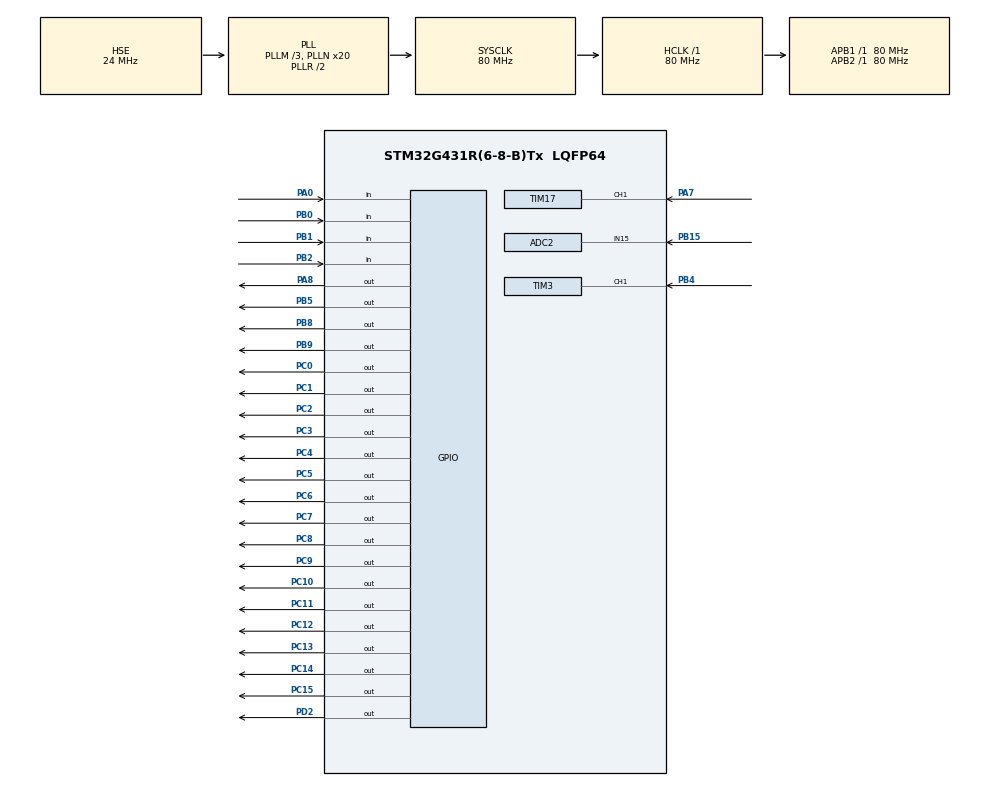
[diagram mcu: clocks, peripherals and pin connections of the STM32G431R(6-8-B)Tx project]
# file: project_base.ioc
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ADC2.Channel-0\#ChannelRegularConversion=ADC_CHANNEL_15
ADC2.NbrOfConversionFlag=1
ADC2.OffsetNumber-0\#ChannelRegularConversion=ADC_OFFSET_NONE
ADC2.Rank-0\#ChannelRegularConversion=1
ADC2.SamplingTime-0\#ChannelRegularConversion=ADC_SAMPLETIME_2CYCLES_5
Mcu.Family=STM32G4
Mcu.Name=STM32G431R(6-8-B)Tx
Mcu.Package=LQFP64
NVIC.PriorityGroup=NVIC_PRIORITYGROUP_4
NVIC.TIM1_TRG_COM_TIM17_IRQn=true\:0\:0\:false\:false\:true\:true\:true\:true
NVIC.TIM3_IRQn=true\:0\:0\:false\:false\:true\:true\:true\:true
PA0.GPIO_PuPd=GPIO_PULLUP
PA0.Signal=GPIO_Input
PA13.Mode=Serial_Wire
PA13.Signal=SYS_JTMS-SWDIO
PA14.Mode=Serial_Wire
PA14.Signal=SYS_JTCK-SWCLK
PA7.Signal=S_TIM17_CH1
PA8.Signal=GPIO_Output
PB0.GPIO_PuPd=GPIO_PULLUP
PB0.Signal=GPIO_Input
PB1.GPIO_PuPd=GPIO_PULLUP
PB1.Signal=GPIO_Input
PB15.Mode=IN15-Single-Ended
PB15.Signal=ADC2_IN15
PB2.GPIO_PuPd=GPIO_PULLUP
PB2.Signal=GPIO_Input
PB4.Signal=S_TIM3_CH1
PB5.Signal=GPIO_Output
PB8-BOOT0.Signal=GPIO_Output
PB9.Signal=GPIO_Output
PC0.Signal=GPIO_Output
PC1.Signal=GPIO_Output
PC10.Signal=GPIO_Output
PC11.Signal=GPIO_Output
PC12.Signal=GPIO_Output
PC13.Signal=GPIO_Output
PC14-OSC32_IN.Signal=GPIO_Output
PC15-OSC32_OUT.Signal=GPIO_Output
PC2.Signal=GPIO_Output
PC3.Signal=GPIO_Output
PC4.Signal=GPIO_Output
PC5.Signal=GPIO_Output
PC6.Signal=GPIO_Output
PC7.Signal=GPIO_Output
PC8.Signal=GPIO_Output
PC9.Signal=GPIO_Output
PD2.Signal=GPIO_Output
PF0-OSC_IN.Mode=HSE-External-Oscillator
PF0-OSC_IN.Signal=RCC_OSC_IN
PF1-OSC_OUT.Mode=HSE-External-Oscillator
PF1-OSC_OUT.Signal=RCC_OSC_OUT
ProjectManager.HeapSize=0x200
ProjectManager.StackSize=0x400
ProjectManager.TargetToolchain=MDK-ARM V5.32
RCC.ADC12Freq_Value=80000000
RCC.AHBFreq_Value=80000000
RCC.APB1Freq_Value=80000000
RCC.APB1TimFreq_Value=80000000
RCC.APB2Freq_Value=80000000
RCC.APB2TimFreq_Value=80000000
RCC.CortexFreq_Value=80000000
RCC.EXTERNAL_CLOCK_VALUE=12288000
RCC.HCLKFreq_Value=80000000
RCC.HSE_VALUE=24000000
RCC.HSI48_VALUE=48000000
RCC.HSI_VALUE=16000000
RCC.LSE_VALUE=32768
RCC.PLLM=RCC_PLLM_DIV3
RCC.PLLN=20
RCC.PLLSourceVirtual=RCC_PLLSOURCE_HSE
RCC.SYSCLKFreq_VALUE=80000000
RCC.SYSCLKSource=RCC_SYSCLKSOURCE_PLLCLK
RCC.USBFreq_Value=80000000
RCC.VCOOutputFreq_Value=160000000
SH.S_TIM17_CH1.0=TIM17_CH1,Input_Capture1_from_TI1
SH.S_TIM3_CH1.0=TIM3_CH1,Input_Capture1_from_TI1
SH.S_TIM3_CH1.1=TIM3_CH1,TriggerSource_TI1FP1
TIM17.Channel=TIM_CHANNEL_1
TIM17.PeriodNoDither=100-1
TIM17.Prescaler=800-1
TIM3.Channel-Input_Capture1_from_TI1=TIM_CHANNEL_1
TIM3.Prescaler=80-1
VP_SYS_VS_DBSignals.Mode=DisableDeadBatterySignals
VP_TIM17_VS_ClockSourceINT.Mode=Enable_Timer
VP_TIM3_VS_ClockSourceINT.Mode=Internal
VP_TIM3_VS_ControllerModeReset.Mode=Reset Mode
board=custom

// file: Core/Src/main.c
/* USER CODE BEGIN Header */
/**
  ******************************************************************************
  * @file           : main.c
  * @brief          : Main program body
  ******************************************************************************
  * @attention
  *
  * Copyright (c) 2025 STMicroelectronics.
  * All rights reserved.
  *
  * This software is licensed under terms that can be found in the LICENSE file
  * in the root directory of this software component.
  * If no LICENSE file comes with this software, it is provided AS-IS.
  *
  ******************************************************************************
  */
/* USER CODE END Header */
#include "main.h"
#include "adc.h"
#include "tim.h"
#include "gpio.h"

void SystemClock_Config(void);

/* USER CODE BEGIN 0 */
u8 lcd_mod=0;
double rate;
int con;
int rate_max=0,rate_min=200;
int high=100,low=60,alter;
u8 con_flag;
u8 b1,b11,b2,b22,b3,b33,b4,b44;
u8 lcd_mod2_index;
u8 enter_alter;
double freq_pb4;
double V_R37;
int tim_5s,tim_5s_con;
void HAL_TIM_PeriodElapsedCallback(TIM_HandleTypeDef *htim)
{
	if(htim->Instance==TIM17)
	{
		if(tim_5s_con)
			if(++tim_5s==5000)
			{
				tim_5s=0;
				tim_5s_con=0;
			}
	}
}
void HAL_TIM_IC_CaptureCallback(TIM_HandleTypeDef *htim)
{
	if(htim->Instance==TIM3)
	{
		freq_pb4=1000000.0/(HAL_TIM_ReadCapturedValue(&htim3,TIM_CHANNEL_1)+1.0);
		rate=0.17*freq_pb4-140.0;
		if(freq_pb4<=1000) rate=30;
		if(freq_pb4>=2000) rate=200;
	}
}
void lcd_proc(void)
{
	u8 text[20];
	if(lcd_mod==0)
	{
		sprintf((char *)text,"       HEART     ");
		LCD_DisplayStringLine(Line1, (unsigned char *)text);
		sprintf((char *)text,"      Rate:%.0f    ",rate);
		LCD_DisplayStringLine(Line3, (unsigned char *)text);
		sprintf((char *)text,"       Con:%d    ",con);
		LCD_DisplayStringLine(Line4, (unsigned char *)text);
	}
	if(lcd_mod==1)
	{
		sprintf((char *)text,"       RECORD    ");
		LCD_DisplayStringLine(Line1, (unsigned char *)text);
		sprintf((char *)text,"       Max:%d    ",rate_max);
		LCD_DisplayStringLine(Line3, (unsigned char *)text);
		sprintf((char *)text,"       Min:%d    ",rate_min);
		LCD_DisplayStringLine(Line4, (unsigned char *)text);
	}
	if(lcd_mod==2)
	{
		sprintf((char *)text,"        PARA     ");
		LCD_DisplayStringLine(Line1, (unsigned char *)text);
		if(enter_alter==0)
		{
			sprintf((char *)text,"      High:%d    ",high);
			LCD_DisplayStringLine(Line3, (unsigned char *)text);
			sprintf((char *)text,"       Low:%d    ",low);
			LCD_DisplayStringLine(Line4, (unsigned char *)text);
		}
		if(enter_alter==1)
		{
			if(lcd_mod2_index==0)
			{
				sprintf((char *)text,"      High:%d    ",alter);
				LCD_DisplayStringLine(Line3, (unsigned char *)text);
				sprintf((char *)text,"       Low:%d    ",low);
				LCD_DisplayStringLine(Line4, (unsigned char *)text);
			}
			else
			{
				sprintf((char *)text,"      High:%d    ",high);
				LCD_DisplayStringLine(Line3, (unsigned char *)text);
				sprintf((char *)text,"       Low:%d    ",alter);
				LCD_DisplayStringLine(Line4, (unsigned char *)text);
			}
		}
	}
	if(rate>high||rate<low)
	{
		if(rate>rate_max) rate_max=rate;
		if(rate<rate_min) rate_min=rate;
		if(con_flag==0)
		{
			con_flag=1;
			con++;
			tim_5s_con=1;
		}
	}
	else
	{
		con_flag=0;
	}
}
void key_proc(void)
{
	if(HAL_GPIO_ReadPin(GPIOB,GPIO_PIN_0)==0)	b1=1;
	else b1=0;
	if(HAL_GPIO_ReadPin(GPIOB,GPIO_PIN_1)==0)	b2=1;
	else b2=0;
	if(HAL_GPIO_ReadPin(GPIOB,GPIO_PIN_2)==0)	b3=1;
	else b3=0;
	if(HAL_GPIO_ReadPin(GPIOA,GPIO_PIN_0)==0)	b4=1;
	else b4=0;
	if(b1==1&&b11==0)
	{
		b11=1;
		lcd_mod++;
		if(lcd_mod==2)
		{
			lcd_mod2_index=0;
			enter_alter=0;
		}
		if(lcd_mod==3) lcd_mod=0;
	}if(b1==0&&b11==1) b11=0;

	if(b2==1&&b22==0)
	{
		b22=1;
		if(lcd_mod==2)
		{
			lcd_mod2_index^=1;
		}
	}if(b2==0&&b22==1) b22=0;

	if(b3==1&&b33==0)
	{
		b33=1;
		if(lcd_mod==2)
		{
			enter_alter^=1;
			if(enter_alter==0)
			{
				if(lcd_mod2_index==0) high=alter;
				if(lcd_mod2_index==1) low=alter;
			}
		}
	}if(b3==0&&b33==1) b33=0;

	if(b4==1&&b44==0)
	{
		if(lcd_mod==0)
		{
			rate=0;
			con=0;
		}
		b44=1;
	}if(b4==0&&b44==1) b44=0;
}

/* USER CODE END 0 */

int main(void)
{

  /* MCU Configuration--------------------------------------------------------*/

  /* Reset of all peripherals, Initializes the Flash interface and the Systick. */
  HAL_Init();

  /* Configure the system clock */
  SystemClock_Config();

  /* Initialize all configured peripherals */
  MX_GPIO_Init();
  MX_ADC2_Init();
  MX_TIM3_Init();
  MX_TIM17_Init();

  /* Infinite loop */
  /* USER CODE BEGIN WHILE */
	LCD_Init();
	LCD_SetBackColor(Black);
	LCD_SetTextColor(White);
	LCD_Clear(Black);
	HAL_TIM_IC_Start_IT(&htim3,TIM_CHANNEL_1);
	HAL_TIM_Base_Start_IT(&htim17);
	HAL_Delay(100);
  while (1)
  {
	  HAL_ADC_Start(&hadc2);
	  V_R37=HAL_ADC_GetValue(&hadc2)/4090.0*3.3;
	  HAL_ADC_Stop(&hadc2);
	  alter=45*V_R37+15;
	  if(V_R37<=1.0) alter=60;
	  if(V_R37>=3.0) alter=150;
	  lcd_proc();
	  key_proc();
    /* USER CODE END WHILE */

    /* USER CODE BEGIN 3 */

	  HAL_GPIO_WritePin(GPIOC,(uint16_t)0xff00,GPIO_PIN_SET);
	  if(lcd_mod==0) HAL_GPIO_WritePin(GPIOC,GPIO_PIN_8,GPIO_PIN_RESET);
	  if(lcd_mod==1) HAL_GPIO_WritePin(GPIOC,GPIO_PIN_9,GPIO_PIN_RESET);
	  if(lcd_mod==2) HAL_GPIO_WritePin(GPIOC,GPIO_PIN_10,GPIO_PIN_RESET);
	  if(lcd_mod==2&&lcd_mod2_index==0&&enter_alter==1) HAL_GPIO_WritePin(GPIOC,GPIO_PIN_11,GPIO_PIN_RESET);
	  if(lcd_mod==2&&lcd_mod2_index==1&&enter_alter==1) HAL_GPIO_WritePin(GPIOC,GPIO_PIN_12,GPIO_PIN_RESET);
	  if(tim_5s_con==1) HAL_GPIO_WritePin(GPIOC,GPIO_PIN_13,GPIO_PIN_RESET);
	  HAL_GPIO_WritePin(GPIOD,GPIO_PIN_2,GPIO_PIN_SET);
	  HAL_GPIO_WritePin(GPIOD,GPIO_PIN_2,GPIO_PIN_RESET);
  }
  /* USER CODE END 3 */
}

void SystemClock_Config(void)
{
  RCC_OscInitTypeDef RCC_OscInitStruct = {0};
  RCC_ClkInitTypeDef RCC_ClkInitStruct = {0};

  /** Configure the main internal regulator output voltage
  */
  HAL_PWREx_ControlVoltageScaling(PWR_REGULATOR_VOLTAGE_SCALE1);

  /** Initializes the RCC Oscillators according to the specified parameters
  * in the RCC_OscInitTypeDef structure.
  */
  RCC_OscInitStruct.OscillatorType = RCC_OSCILLATORTYPE_HSE;
  RCC_OscInitStruct.HSEState = RCC_HSE_ON;
  RCC_OscInitStruct.PLL.PLLState = RCC_PLL_ON;
  RCC_OscInitStruct.PLL.PLLSource = RCC_PLLSOURCE_HSE;
  RCC_OscInitStruct.PLL.PLLM = RCC_PLLM_DIV3;
  RCC_OscInitStruct.PLL.PLLN = 20;
  RCC_OscInitStruct.PLL.PLLP = RCC_PLLP_DIV2;
  RCC_OscInitStruct.PLL.PLLQ = RCC_PLLQ_DIV2;
  RCC_OscInitStruct.PLL.PLLR = RCC_PLLR_DIV2;
  if (HAL_RCC_OscConfig(&RCC_OscInitStruct) != HAL_OK)
  {
    Error_Handler();
  }

  /** Initializes the CPU, AHB and APB buses clocks
  */
  RCC_ClkInitStruct.ClockType = RCC_CLOCKTYPE_HCLK|RCC_CLOCKTYPE_SYSCLK
                              |RCC_CLOCKTYPE_PCLK1|RCC_CLOCKTYPE_PCLK2;
  RCC_ClkInitStruct.SYSCLKSource = RCC_SYSCLKSOURCE_PLLCLK;
  RCC_ClkInitStruct.AHBCLKDivider = RCC_SYSCLK_DIV1;
  RCC_ClkInitStruct.APB1CLKDivider = RCC_HCLK_DIV1;
  RCC_ClkInitStruct.APB2CLKDivider = RCC_HCLK_DIV1;

  if (HAL_RCC_ClockConfig(&RCC_ClkInitStruct, FLASH_LATENCY_2) != HAL_OK)
  {
    Error_Handler();
  }
}

void Error_Handler(void)
{
  __disable_irq();
  while (1)
  {
  }
}
